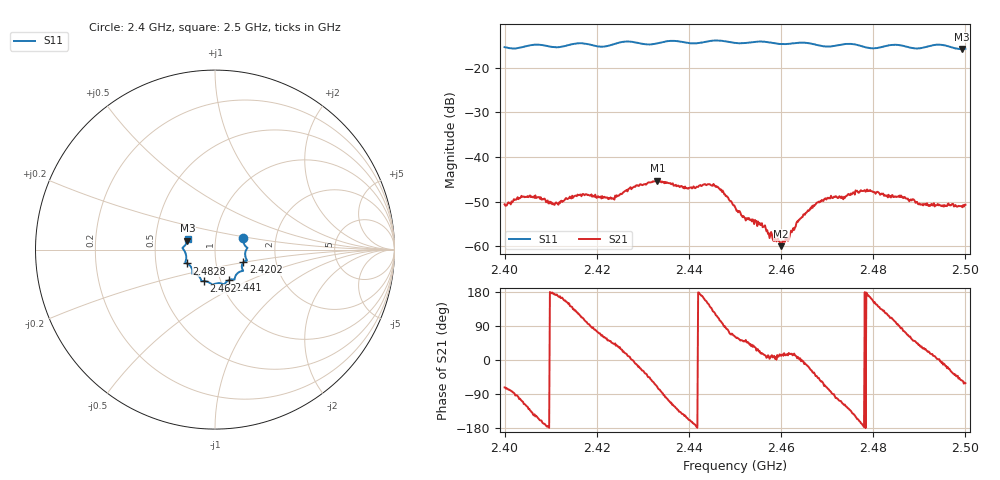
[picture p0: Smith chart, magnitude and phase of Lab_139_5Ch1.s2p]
# Hz S RI R 50
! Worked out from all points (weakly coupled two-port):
!   601 points, 2.4 GHz to 2.5 GHz, reference 50 ohm
!   highest |S21| = -45.28 dB at 2.4332 GHz (marker M1); lowest = -59.9 dB at 2.46 GHz (marker M2)
!   lowest |S11| = -15.8 dB at 2.4992 GHz (marker M3), VSWR 1.39, Z = 36.5 + j3.67 ohm
!   |S11| at or under -10 dB: start of sweep to end of sweep
!   S12 and S22 are empty: the file has one direction only
!   S11 on the Smith chart (normalised r, x): 2.4 GHz: 1.36, +0.18; 2.4202 GHz: 1.36, -0.20; 2.441 GHz: 1.10, -0.39; 2.462 GHz: 0.84, -0.30; 2.4828 GHz: 0.72, -0.11; 2.5 GHz: 0.73, +0.09
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2.4e9  0.1577 0.0631  0.0009 -0.00282  0 0  0 0
2.404e9  0.1695 0.0197  -0.00126 -0.00338  0 0  0 0
2.411167e9  0.1682 -0.0184  -0.00308 0.000476  0 0  0 0
2.416667e9  0.1777 -0.0602  -0.00139 0.00337  0 0  0 0
2.420167e9  0.1582 -0.0707  0.000996 0.00348  0 0  0 0
2.423333e9  0.1502 -0.1008  0.00245 0.00246  0 0  0 0
2.433167e9  0.1127 -0.1497  0.0017 -0.00517  0 0  0 0
2.433333e9  0.1122 -0.1511  0.0013 -0.00512  0 0  0 0
2.441e9  0.0784 -0.1695  -0.00459 -0.00102  0 0  0 0
2.445833e9  0.0511 -0.195  -0.0022 0.00409  0 0  0 0
2.45e9  0.0284 -0.1871  0.00132 0.00242  0 0  0 0
2.46e9  -0.041 -0.1793  0.00099 0.000191  0 0  0 0
2.462e9  -0.0604 -0.1754  0.00137 0.000381  0 0  0 0
2.466667e9  -0.0779 -0.1682  0.00248 -0.00133  0 0  0 0
2.469833e9  -0.0938 -0.1445  0.00106 -0.00318  0 0  0 0
2.477667e9  -0.1261 -0.1185  -0.00413 -0.000655  0 0  0 0
2.482833e9  -0.1575 -0.0773  -0.00201 0.00305  0 0  0 0
2.483333e9  -0.1606 -0.0761  -0.00172 0.00338  0 0  0 0
2.490333e9  -0.1644 -0.0194  0.00242 0.00168  0 0  0 0
2.494167e9  -0.1805 0.00883  0.00289 0.0001  0 0  0 0
2.499167e9  -0.1539 0.0489  0.00169 -0.00227  0 0  0 0
2.5e9  -0.1517 0.061  0.00141 -0.00257  0 0  0 0
